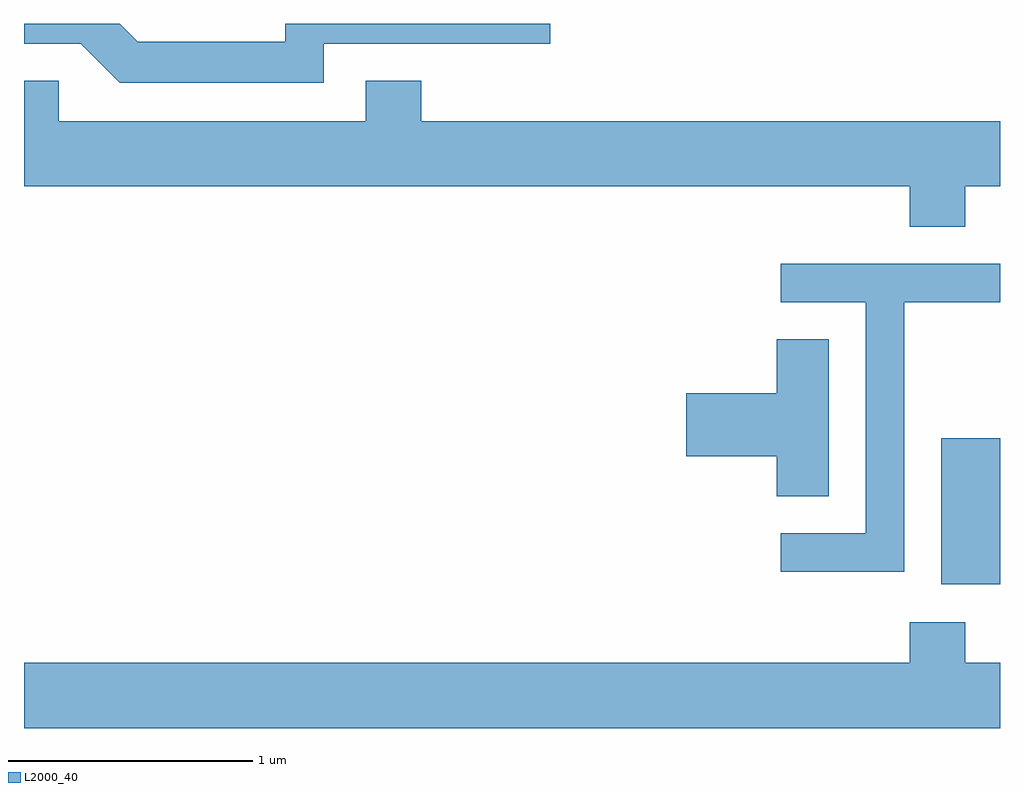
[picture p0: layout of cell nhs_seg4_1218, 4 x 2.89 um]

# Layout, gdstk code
import gdstk
lib = gdstk.Library(unit=1e-6, precision=1e-09)
def R(c, l, rs):  # rectangles x0, y0, x1, y1
    for r in rs: c.add(gdstk.rectangle(r[:2], r[2:], *l))
def P(c, l, *ps):  # polygons
    for p in ps: c.add(gdstk.Polygon(p, *l))
L2000_40 = (2000, 40)

nhs_seg4_1218 = lib.new_cell('nhs_seg4_1218')
R(nhs_seg4_1218, L2000_40, [(223.371,1379.686,223.611,1380.284)])
P(nhs_seg4_1218, L2000_40, [(220.839,1381.901),(221.768,1381.901),(221.768,1381.982),(220.681,1381.982),(220.681,1381.909),(220.077,1381.909),(220.004,1381.982),(219.611,1381.982),(219.611,1381.901),(219.844,1381.901),(220.004,1381.741),(220.839,1381.741)],
  [(223.469,1381.316),(223.611,1381.316),(223.611,1381.584),(221.239,1381.584),(221.239,1381.749),(221.011,1381.749),(221.011,1381.584),(219.754,1381.584),(219.754,1381.749),(219.611,1381.749),(219.611,1381.316),(223.241,1381.316),(223.241,1381.151),(223.469,1381.151)],
  [(223.219,1380.841),(223.611,1380.841),(223.611,1380.999),(222.713,1380.999),(222.713,1380.841),(223.061,1380.841),(223.061,1379.894),(222.713,1379.894),(222.713,1379.736),(223.219,1379.736)],
  [(222.909,1380.689),(222.696,1380.689),(222.696,1380.469),(222.326,1380.469),(222.326,1380.211),(222.696,1380.211),(222.696,1380.046),(222.909,1380.046)],
  [(223.611,1379.364),(223.469,1379.364),(223.469,1379.529),(223.241,1379.529),(223.241,1379.364),(219.611,1379.364),(219.611,1379.096),(223.611,1379.096)])

lib.write_gds('nhs_seg4_1218.gds')
